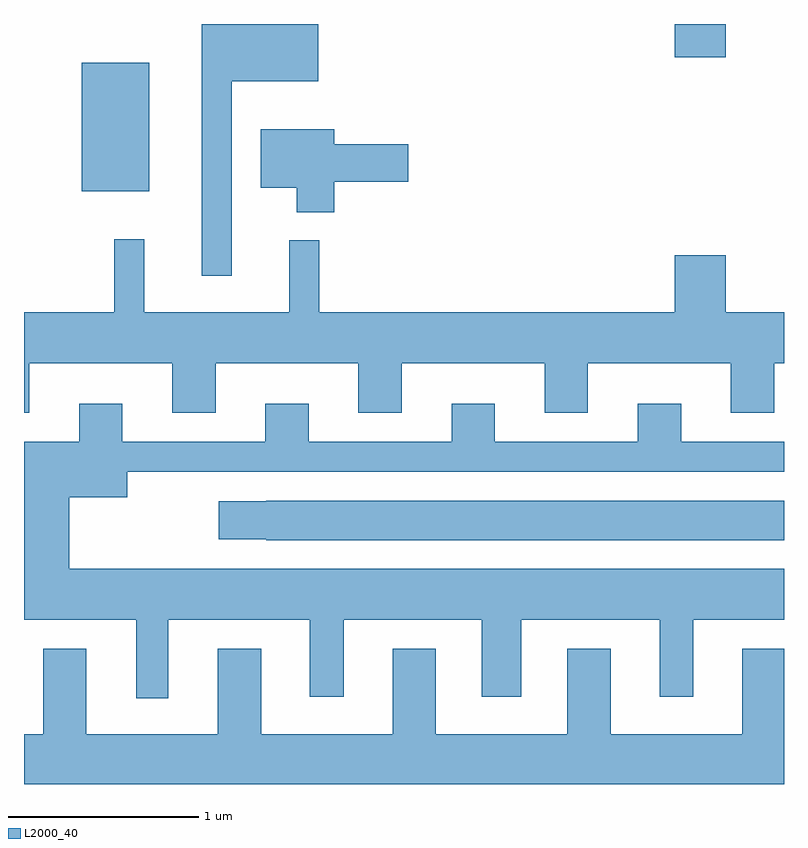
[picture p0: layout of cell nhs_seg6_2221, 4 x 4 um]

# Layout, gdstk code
import gdstk
lib = gdstk.Library(unit=1e-6, precision=1e-09)
def R(c, l, rs):  # rectangles x0, y0, x1, y1
    for r in rs: c.add(gdstk.rectangle(r[:2], r[2:], *l))
def P(c, l, *ps):  # polygons
    for p in ps: c.add(gdstk.Polygon(p, *l))
L2000_40 = (2000, 40)

nhs_seg6_2221 = lib.new_cell('nhs_seg6_2221')
R(nhs_seg6_2221, L2000_40, [(251.916,1655.281,252.269,1655.959), (255.036,1655.986,255.304,1656.162)])
P(nhs_seg6_2221, L2000_40, [(252.704,1655.861),(253.159,1655.861),(253.159,1656.162),(252.546,1656.162),(252.546,1654.838),(252.704,1654.838)],
  [(253.244,1655.331),(253.634,1655.331),(253.634,1655.529),(253.244,1655.529),(253.244,1655.609),(252.856,1655.609),(252.856,1655.301),(253.046,1655.301),(253.046,1655.171),(253.244,1655.171)],
  [(251.611,1654.116),(251.639,1654.116),(251.639,1654.376),(252.391,1654.376),(252.391,1654.116),(252.619,1654.116),(252.619,1654.376),(253.371,1654.376),(253.371,1654.116),(253.599,1654.116),(253.599,1654.376),(254.351,1654.376),(254.351,1654.116),(254.579,1654.116),(254.579,1654.376),(255.331,1654.376),(255.331,1654.116),(255.559,1654.116),(255.559,1654.376),(255.611,1654.376),(255.611,1654.644),(255.304,1654.644),(255.304,1654.944),(255.036,1654.944),(255.036,1654.644),(253.164,1654.644),(253.164,1655.023),(253.006,1655.023),(253.006,1654.644),(252.244,1654.644),(252.244,1655.028),(252.086,1655.028),(252.086,1654.644),(251.611,1654.644)],
  [(252.369,1653.026),(253.116,1653.026),(253.116,1652.621),(253.294,1652.621),(253.294,1653.026),(254.021,1653.026),(254.021,1652.621),(254.229,1652.621),(254.229,1653.026),(254.956,1653.026),(254.956,1652.621),(255.134,1652.621),(255.134,1653.026),(255.611,1653.026),(255.611,1653.294),(251.849,1653.294),(251.849,1653.671),(252.154,1653.671),(252.154,1653.806),(255.611,1653.806),(255.611,1653.964),(255.069,1653.964),(255.069,1654.164),(254.841,1654.164),(254.841,1653.964),(254.089,1653.964),(254.089,1654.164),(253.861,1654.164),(253.861,1653.964),(253.109,1653.964),(253.109,1654.164),(252.881,1654.164),(252.881,1653.964),(252.129,1653.964),(252.129,1654.164),(251.901,1654.164),(251.901,1653.964),(251.611,1653.964),(251.611,1653.026),(252.201,1653.026),(252.201,1652.613),(252.369,1652.613)],
  [(255.611,1653.654),(252.885,1653.654),(252.885,1653.649),(252.636,1653.649),(252.636,1653.451),(252.885,1653.451),(252.885,1653.446),(255.611,1653.446)],
  [(255.611,1652.874),(255.391,1652.874),(255.391,1652.424),(254.699,1652.424),(254.699,1652.874),(254.471,1652.874),(254.471,1652.424),(253.779,1652.424),(253.779,1652.874),(253.551,1652.874),(253.551,1652.424),(252.859,1652.424),(252.859,1652.874),(252.631,1652.874),(252.631,1652.424),(251.939,1652.424),(251.939,1652.874),(251.711,1652.874),(251.711,1652.424),(251.611,1652.424),(251.611,1652.162),(255.611,1652.162)])

lib.write_gds('nhs_seg6_2221.gds')
